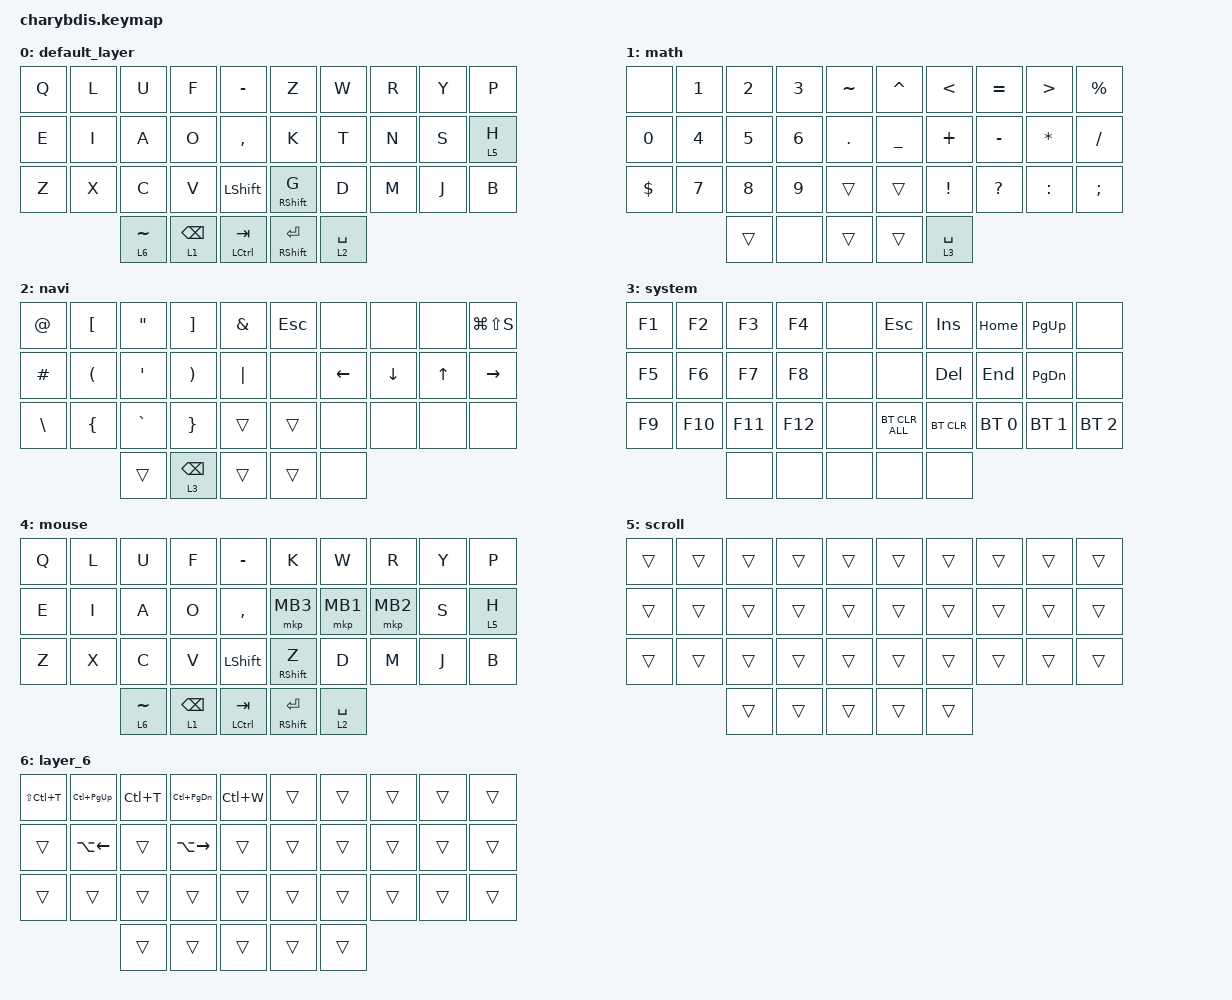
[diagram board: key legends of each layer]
#include <behaviors.dtsi>
#include <dt-bindings/zmk/bt.h>
#include <dt-bindings/zmk/keys.h>
#include <dt-bindings/zmk/pointing.h>
#include <dt-bindings/zmk/rgb.h>

#define MOUSE 4
#define SCROLL 5
#define NUM 6
#define ZMK_POINTING_DEFAULT_SCRL_VAL 80

&mt {
    flavor = "tap-preferred";
    tapping-term-ms = <200>;
    quick-tap-ms = <150>;
    require-prior-idle-ms = <200>;
    retro-tap;
};

&lt {
    flavor = "tap-preferred";
    tapping-term-ms = <200>;
    quick-tap-ms = <150>;
};

/ {
    macros {
        To1_macro: To1_macro {
            compatible = "zmk,behavior-macro";
            label = "To1_macro";
            #binding-cells = <0>;
            bindings = <&rgb_ug RGB_EFF &rgb_ug RGB_COLOR_HSB(128,100,50) &to 1>;
        };

        To0_macro: To0_macro {
            compatible = "zmk,behavior-macro";
            label = "To0_macro";
            #binding-cells = <0>;
            bindings = <&rgb_ug RGB_EFR &to 0>;
        };

        To2_macro: To2_macro {
            compatible = "zmk,behavior-macro";
            label = "To2_macro";
            #binding-cells = <0>;
            bindings =
                <&to 0>,
                <&macro_wait_time 30>,
                <&rgb_ug RGB_COLOR_HSB(250,100,50)>;
        };

        to_layer_0: to_layer_0 {
            compatible = "zmk,behavior-macro-one-param";
            #binding-cells = <1>;
            bindings = <&to 0 &macro_param_1to1 &kp MACRO_PLACEHOLDER>;
            label = "TO_LAYER_0";
        };
    };

    combos {
        compatible = "zmk,combos";

        lang_kana {
            bindings = <&kp LC(J)>;
            key-positions = <16 17>;
        };

        change_lang {
            bindings = <&kp LG(SPACE)>;
            key-positions = <13 12>;
        };

        capslock {
            bindings = <&kp CAPSLOCK>;
            key-positions = <24 25>;
        };

        reset_R {
            bindings = <&bootloader>;
            key-positions = <15 19>;
        };

        reset_L {
            bindings = <&bootloader>;
            key-positions = <10 14>;
        };
    };

    keymap {
        compatible = "zmk,keymap";

        default_layer {
            bindings = <
&kp Q  &kp L  &kp U        &kp F            &kp MINUS        &kp Z           &kp W        &kp R  &kp Y  &kp P
&kp E  &kp I  &kp A        &kp O            &kp COMMA        &kp K           &kp T        &kp N  &kp S  &lt 5 H
&kp Z  &kp X  &kp C        &kp V            &kp LSHIFT       &mt RSHIFT G    &kp D        &kp M  &kp J  &kp B
              &lt 6 TILDE  &lt 1 BACKSPACE  &mt LCTRL TAB    &mt RSHIFT RET  &lt 2 SPACE
            >;
        };

        math {
            bindings = <
&none         &kp NUMBER_1  &kp NUMBER_2  &kp NUMBER_3  &kp TILDE     &kp CARET       &kp LESS_THAN    &kp EQUAL     &kp GREATER_THAN  &kp PERCENT
&kp NUMBER_0  &kp NUMBER_4  &kp NUMBER_5  &kp NUMBER_6  &kp PERIOD    &kp UNDERSCORE  &kp PLUS         &kp MINUS     &kp ASTERISK      &kp SLASH
&kp DOLLAR    &kp NUMBER_7  &kp NUMBER_8  &kp NUMBER_9  &trans        &trans          &kp EXCLAMATION  &kp QUESTION  &kp COLON         &kp SEMICOLON
                            &trans        &none         &trans        &trans          &lt 3 SPACE
            >;
        };

        navi {
            bindings = <
&kp AT         &kp LEFT_BRACKET      &kp DOUBLE_QUOTES  &kp RIGHT_BRACKET      &kp AMPERSAND    &kp ESCAPE  &none           &none           &none         &kp LG(LS(S))
&kp HASH       &kp LEFT_PARENTHESIS  &kp SINGLE_QUOTE   &kp RIGHT_PARENTHESIS  &kp PIPE         &none       &kp LEFT_ARROW  &kp DOWN_ARROW  &kp UP_ARROW  &kp RIGHT_ARROW
&kp BACKSLASH  &kp LEFT_BRACE        &kp GRAVE          &kp RIGHT_BRACE        &trans           &trans      &none           &none           &none         &none
                                     &trans             &lt 3 BACKSPACE        &trans           &trans      &none
            >;
        };

        system {
            bindings = <
&kp F1  &kp F2   &kp F3   &kp F4   &none    &kp ESCAPE      &kp INSERT  &kp HOME      &kp PAGE_UP    &none
&kp F5  &kp F6   &kp F7   &kp F8   &none    &none           &kp DELETE  &kp END       &kp PAGE_DOWN  &none
&kp F9  &kp F10  &kp F11  &kp F12  &none    &bt BT_CLR_ALL  &bt BT_CLR  &bt BT_SEL 0  &bt BT_SEL 1   &bt BT_SEL 2
                 &none    &none    &none    &none           &none
            >;
        };

        mouse {
            bindings = <
&kp Q  &kp L  &kp U        &kp F            &kp MINUS        &kp K             &kp W        &kp R     &kp Y  &kp P
&kp E  &kp I  &kp A        &kp O            &kp COMMA        &mkp MB3          &mkp MB1     &mkp MB2  &kp S  &lt 5 H
&kp Z  &kp X  &kp C        &kp V            &kp LSHFT        &mt RSHIFT Z      &kp D        &kp M     &kp J  &kp B
              &lt 6 TILDE  &lt 1 BACKSPACE  &mt LCTRL TAB    &mt RSHIFT ENTER  &lt 2 SPACE
            >;
        };

        scroll {
            bindings = <
&trans  &trans  &trans  &trans  &trans    &trans  &trans  &trans  &trans  &trans
&trans  &trans  &trans  &trans  &trans    &trans  &trans  &trans  &trans  &trans
&trans  &trans  &trans  &trans  &trans    &trans  &trans  &trans  &trans  &trans
                &trans  &trans  &trans    &trans  &trans
            >;
        };

        layer_6 {
            bindings = <
&kp LS(LC(T))  &kp LC(PAGE_UP)     &kp LC(T)  &kp LC(PAGE_DOWN)    &kp LC(W)    &trans  &trans  &trans  &trans  &trans
&trans         &kp LA(LEFT_ARROW)  &trans     &kp LA(RIGHT_ARROW)  &trans       &trans  &trans  &trans  &trans  &trans
&trans         &trans              &trans     &trans               &trans       &trans  &trans  &trans  &trans  &trans
                                   &trans     &trans               &trans       &trans  &trans
            >;
        };

        /* layer_2 {
            bindings = <
&none  &none   &none    &none   &none         &none         &kp N1         &none         &none     &none  &none   &to 0
&none  &none   &none    &none   &none         &none         &none         &none          &rgb_ug RGB_BRD &rgb_ug RGB_BRI  &rgb_ug RGB_EFF   &rgb_ug RGB_TOG
&none  &none   &none    &none   &none         &none         &none         &mkp LCLK     &mkp RCLK  &none  &none   &none
&none  &none   &none    &none   &bt BT_NXT  &bt BT_CLR    &none         &none         &none     &none  &none   &none
                                   &none         &none         &none         &none         &none
                                                 &none         &none         &none
            >;
       
            
        };

       Mouse {
            bindings = <
&none        &none         &none         &none         &none      &none         &none       &none      &none         &none         &none         &none
&none        &bt BT_SEL 0  &bt BT_SEL 1  &bt BT_SEL 3  &none      &bt BT_CLR    &bt BT_CLR  &none      &bt BT_SEL 2  &bt BT_SEL 1  &bt BT_SEL 0  &none
&none        &trans        &trans        &mkp MCLK     &trans     &none         &none       &trans     &mkp MCLK     &trans        &trans        &none
&bootloader  &trans        &mkp RCLK     &mo 4         &mkp LCLK  &mo 5         &mo 5       &mkp LCLK  &mo 4         &mkp RCLK     &trans        &bootloader
                                         &mo 5         &mkp LCLK  &mkp RCLK     &mkp RCLK   &mkp LCLK
                                                       &none      &trans        &trans
            >;

            
        };

        layer_4 {
            bindings = <
&trans  &trans  &trans     &trans     &trans     &trans       &trans     &trans     &trans     &trans     &trans  &trans
&trans  &trans  &trans     &trans     &trans     &trans       &trans     &trans     &trans     &trans     &trans  &trans
&trans  &trans  &trans     &mkp MCLK  &trans     &trans       &trans     &trans     &mkp MCLK  &trans     &trans  &trans
&trans  &trans  &mkp RCLK  &trans     &mkp LCLK  &trans       &trans     &mkp LCLK  &trans     &mkp RCLK  &trans  &trans
                           &trans     &mkp LCLK  &mkp RCLK    &mkp RCLK  &mkp LCLK
                                      &trans     &trans       &trans
            >;
                
                
               
        };

        layer_5 {
            bindings = <
&trans  &trans  &trans     &trans     &trans     &trans       &trans     &trans     &trans     &trans     &trans  &trans
&trans  &trans  &trans     &trans     &trans     &trans       &trans     &trans     &trans     &trans     &trans  &trans
&trans  &trans  &trans     &mkp MCLK  &trans     &trans       &trans     &trans     &mkp MCLK  &trans     &trans  &trans
&trans  &trans  &mkp RCLK  &trans     &mkp LCLK  &trans       &trans     &mkp LCLK  &trans     &mkp RCLK  &trans  &trans
                           &trans     &mkp LCLK  &mkp RCLK    &mkp RCLK  &mkp LCLK
                                      &trans     &trans       &trans
            >;
                
                
        };*/
    };
};
